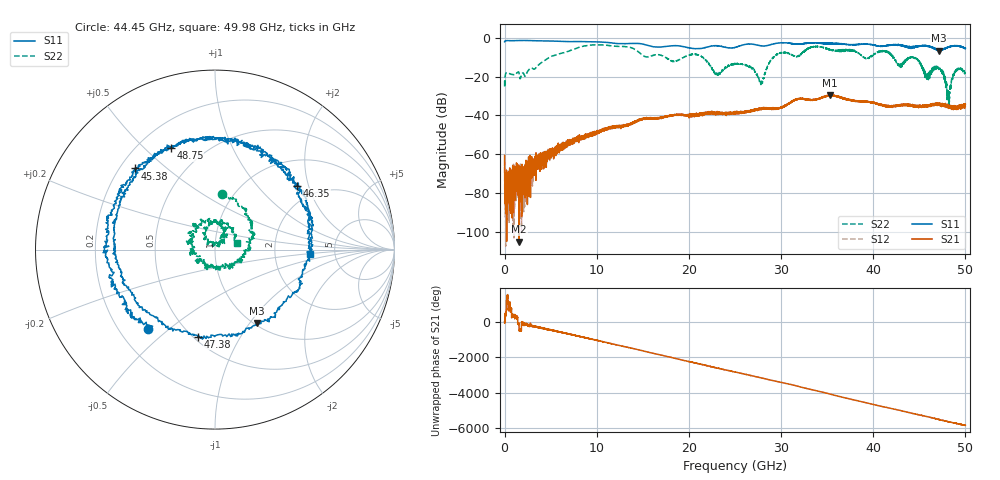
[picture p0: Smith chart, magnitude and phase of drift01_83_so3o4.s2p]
!Created with skrf (http://scikit-rf.org).
# Hz S RI R 50.0
!freq ReS11 ImS11 ReS21 ImS21 ReS12 ImS12 ReS22 ImS22
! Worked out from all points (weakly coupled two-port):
!   10001 points, 300 kHz to 50 GHz, reference 50 ohm
!   highest |S21| = -29.53 dB at 35.29 GHz (marker M1); lowest = -105.3 dB at 1.565 GHz (marker M2)
!   lowest |S11| = -6.6 dB at 47.1 GHz (marker M3), VSWR 2.78, Z = 51.4 - j54 ohm
!   |S11| at or under -10 dB: nowhere
!   |S22| runs from -34.8 to -3.6 dB; largest |S21 - S12| = 0.0038
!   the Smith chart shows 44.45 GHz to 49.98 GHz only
!   S11 on the Smith chart (normalised r, x): 44.45 GHz: 0.32, -0.42; 45.38 GHz: 0.26, +0.39; 46.35 GHz: 1.58, +1.69; 47.38 GHz: 0.53, -0.68; 48.75 GHz: 0.33, +0.60; 49.98 GHz: 3.22, -0.20
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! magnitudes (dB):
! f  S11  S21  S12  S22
! 300 kHz  -2.1  -60.8  -62.8  -22.2
! 280.3 MHz  -1.4  -69.8  -74.5  -18.0
! 1.565 GHz  -1.4  -105.3  -80.5  -18.1
! 8.335 GHz  -1.9  -51.1  -51.5  -4.5
! 16.67 GHz  -4.8  -41.3  -41.2  -8.7
! 20.97 GHz  -5.6  -40.2  -39.4  -8.8
! 23.1 GHz  -4.1  -39.0  -38.8  -18.7
! 25 GHz  -5.0  -38.6  -38.9  -13.5
! 27.86 GHz  -4.2  -36.4  -36.3  -23.0
! 29.44 GHz  -2.9  -36.7  -36.6  -9.0
! 33.34 GHz  -2.6  -32.1  -32.0  -4.8
! 35.29 GHz  -3.0  -29.5  -29.8  -6.0
! 41.67 GHz  -3.9  -35.7  -35.4  -8.0
! 44.45 GHz  -4.7  -35.2  -35.0  -10.1
! 45.38 GHz  -3.9  -34.7  -35.2  -16.7
! 46.35 GHz  -4.7  -34.8  -34.5  -16.6
! 47.1 GHz  -6.6  -34.2  -33.7  -15.8
! 47.38 GHz  -6.1  -34.4  -34.5  -16.6
! 48.2 GHz  -4.8  -36.5  -35.8  -32.8
! 48.75 GHz  -4.2  -35.8  -35.9  -19.2
! 49.98 GHz  -5.6  -35.5  -35.0  -18.0
! 50 GHz  -5.4  -34.2  -35.2  -18.1
